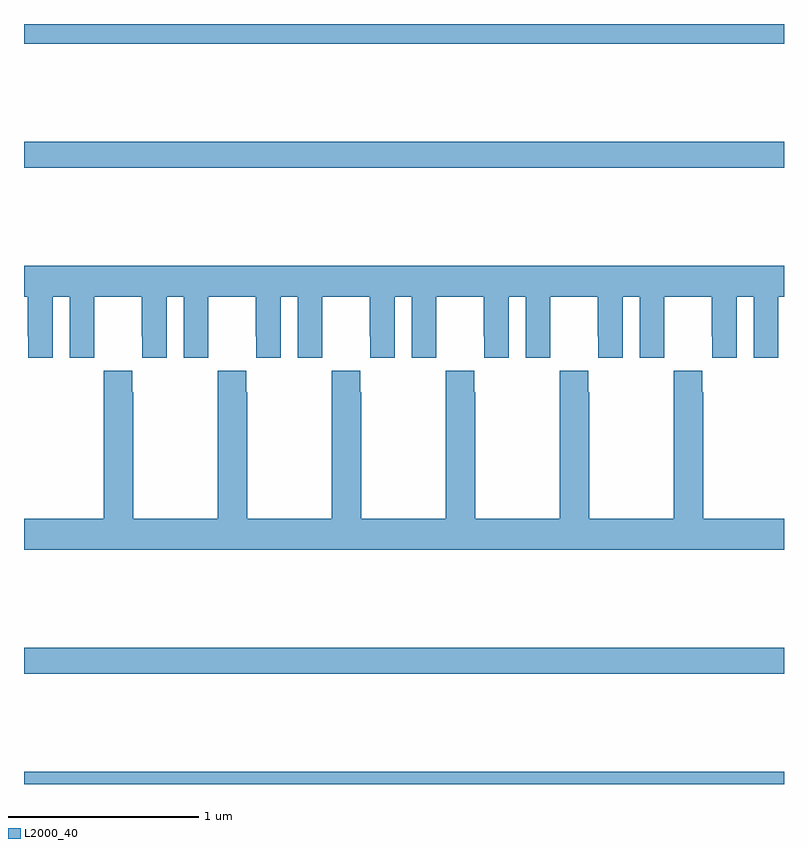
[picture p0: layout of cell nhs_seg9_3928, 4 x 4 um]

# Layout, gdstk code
import gdstk
lib = gdstk.Library(unit=1e-6, precision=1e-09)
def R(c, l, rs):  # rectangles x0, y0, x1, y1
    for r in rs: c.add(gdstk.rectangle(r[:2], r[2:], *l))
def P(c, l, *ps):  # polygons
    for p in ps: c.add(gdstk.Polygon(p, *l))
L2000_40 = (2000, 40)

nhs_seg9_3928 = lib.new_cell('nhs_seg9_3928')
R(nhs_seg9_3928, L2000_40, [(335,1216.5,339,1216.564), (335,1217.08,339,1217.216), (335,1219.744,339,1219.88), (335,1220.396,339,1220.5)])
P(nhs_seg9_3928, L2000_40, [(335,1219.064),(335.021,1219.064),(335.021,1218.856),(335.022,1218.856),(335.022,1218.744),(335.152,1218.744),(335.152,1219.064),(335.24,1219.064),(335.24,1218.744),(335.37,1218.744),(335.37,1218.856),(335.371,1218.856),(335.371,1219.064),(335.621,1219.064),(335.621,1218.856),(335.622,1218.856),(335.622,1218.744),(335.752,1218.744),(335.752,1219.064),(335.84,1219.064),(335.84,1218.744),(335.97,1218.744),(335.97,1218.856),(335.971,1218.856),(335.971,1219.064),(336.221,1219.064),(336.221,1218.856),(336.222,1218.856),(336.222,1218.744),(336.352,1218.744),(336.352,1219.064),(336.44,1219.064),(336.44,1218.744),(336.57,1218.744),(336.57,1218.856),(336.571,1218.856),(336.571,1219.064),(336.821,1219.064),(336.821,1218.856),(336.822,1218.856),(336.822,1218.744),(336.952,1218.744),(336.952,1219.064),(337.04,1219.064),(337.04,1218.744),(337.17,1218.744),(337.17,1218.856),(337.171,1218.856),(337.171,1219.064),(337.421,1219.064),(337.421,1218.856),(337.422,1218.856),(337.422,1218.744),(337.552,1218.744),(337.552,1219.064),(337.64,1219.064),(337.64,1218.744),(337.77,1218.744),(337.77,1218.856),(337.771,1218.856),(337.771,1219.064),(338.021,1219.064),(338.021,1218.856),(338.022,1218.856),(338.022,1218.744),(338.152,1218.744),(338.152,1219.064),(338.24,1219.064),(338.24,1218.744),(338.37,1218.744),(338.37,1218.856),(338.371,1218.856),(338.371,1219.064),(338.621,1219.064),(338.621,1218.856),(338.622,1218.856),(338.622,1218.744),(338.752,1218.744),(338.752,1219.064),(338.84,1219.064),(338.84,1218.744),(338.97,1218.744),(338.97,1218.856),(338.971,1218.856),(338.971,1219.064),(339,1219.064),(339,1219.228),(335,1219.228)],
  [(336.021,1218.676),(336.021,1218.563),(336.019,1218.563),(336.019,1217.896),(335.574,1217.896),(335.574,1218.563),(335.571,1218.563),(335.571,1218.676),(335.421,1218.676),(335.421,1218.563),(335.419,1218.563),(335.419,1217.896),(335,1217.896),(335,1217.732),(339,1217.732),(339,1217.896),(338.574,1217.896),(338.574,1218.563),(338.571,1218.563),(338.571,1218.676),(338.421,1218.676),(338.421,1218.563),(338.419,1218.563),(338.419,1217.896),(337.974,1217.896),(337.974,1218.563),(337.971,1218.563),(337.971,1218.676),(337.821,1218.676),(337.821,1218.563),(337.819,1218.563),(337.819,1217.896),(337.374,1217.896),(337.374,1218.563),(337.371,1218.563),(337.371,1218.676),(337.221,1218.676),(337.221,1218.563),(337.219,1218.563),(337.219,1217.896),(336.774,1217.896),(336.774,1218.563),(336.771,1218.563),(336.771,1218.676),(336.621,1218.676),(336.621,1218.563),(336.619,1218.563),(336.619,1217.896),(336.174,1217.896),(336.174,1218.563),(336.171,1218.563),(336.171,1218.676)])

lib.write_gds('nhs_seg9_3928.gds')
